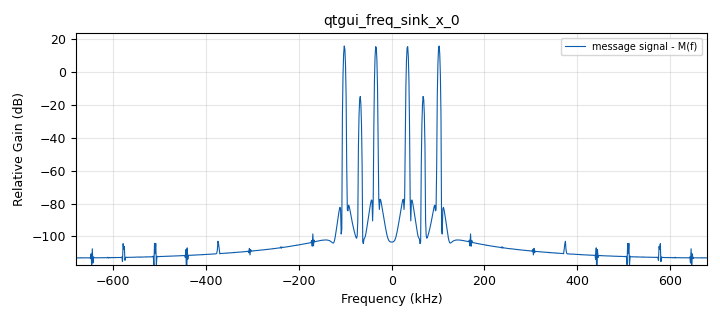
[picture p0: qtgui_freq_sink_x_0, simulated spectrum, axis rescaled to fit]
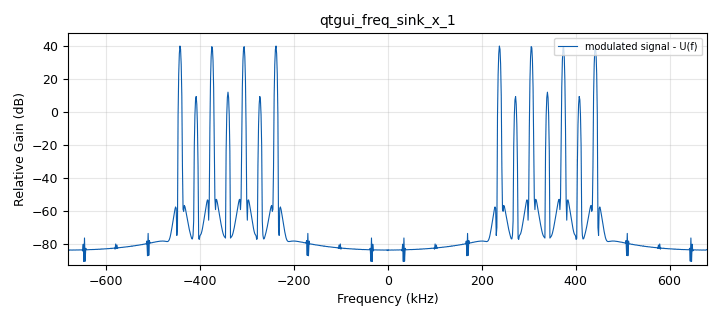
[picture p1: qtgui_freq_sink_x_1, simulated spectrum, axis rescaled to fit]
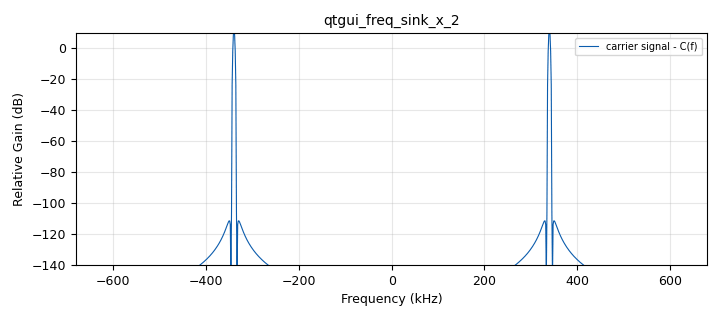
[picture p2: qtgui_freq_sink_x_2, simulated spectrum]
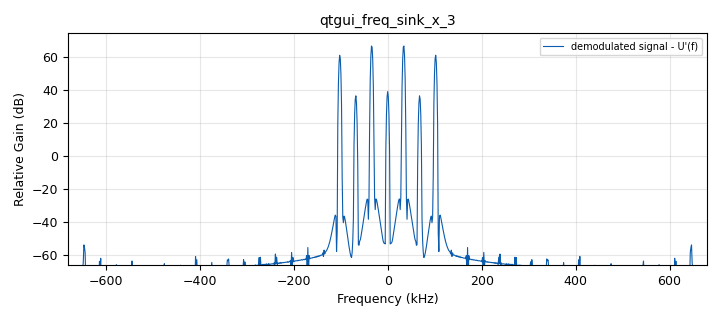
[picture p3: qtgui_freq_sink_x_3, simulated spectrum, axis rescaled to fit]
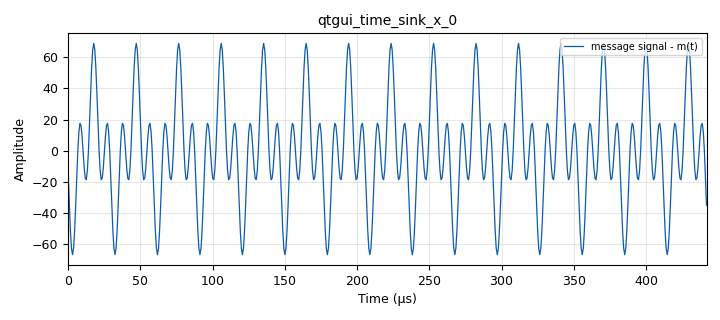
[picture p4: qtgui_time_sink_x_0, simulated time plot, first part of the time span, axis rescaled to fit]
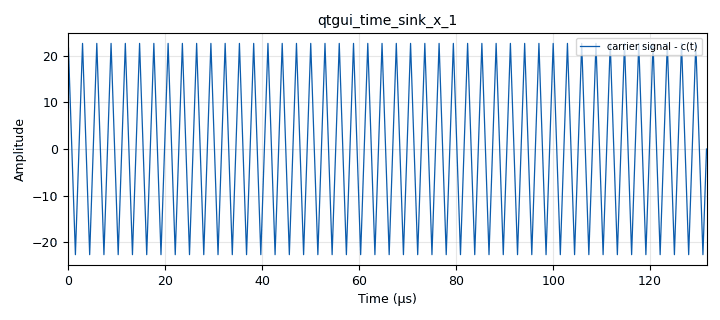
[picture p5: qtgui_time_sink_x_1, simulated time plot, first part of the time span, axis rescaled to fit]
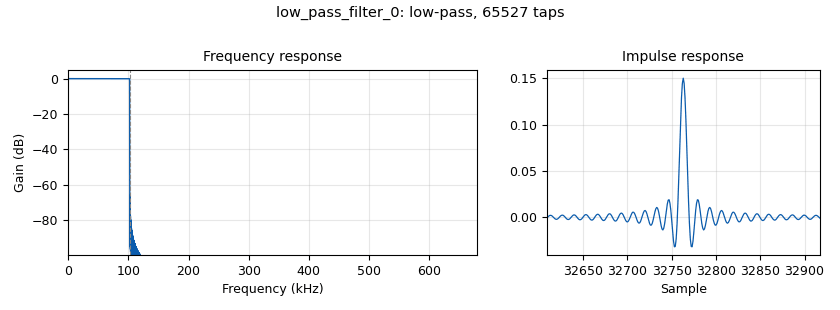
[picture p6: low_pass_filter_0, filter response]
options:
  parameters:
    author: Mangal
    generate_options: qt_gui
    id: multitone
    output_language: python
    title: multitone amplitude modulation
  states: {}

blocks:
- name: samp_rate
  id: variable
  parameters:
    value: '1360000'
  states: {}
- name: analog_const_source_x_0
  id: analog_const_source_x
  parameters:
    const: '1.5'
    type: float
  states: {}
- name: analog_const_source_x_1
  id: analog_const_source_x
  parameters:
    const: '1'
    type: float
  states: {}
- name: analog_sig_source_x_0
  id: analog_sig_source_x
  parameters:
    amp: '34'
    freq: '34000'
    offset: '0'
    phase: '0'
    samp_rate: samp_rate
    type: float
    waveform: analog.GR_COS_WAVE
  states: {}
- name: analog_sig_source_x_1
  id: analog_sig_source_x
  parameters:
    amp: '1'
    freq: '68000'
    offset: '0'
    phase: '0'
    samp_rate: samp_rate
    type: float
    waveform: analog.GR_COS_WAVE
  states: {}
- name: analog_sig_source_x_1_0
  id: analog_sig_source_x
  parameters:
    amp: '22.7'
    freq: '340000'
    offset: '0'
    phase: '0'
    samp_rate: samp_rate
    type: float
    waveform: analog.GR_COS_WAVE
  states: {}
- name: analog_sig_source_x_1_0_0
  id: analog_sig_source_x
  parameters:
    amp: '22.7'
    freq: '340000'
    offset: '0'
    phase: '0'
    samp_rate: samp_rate
    type: float
    waveform: analog.GR_COS_WAVE
  states: {}
- name: analog_sig_source_x_2
  id: analog_sig_source_x
  parameters:
    amp: '34'
    freq: '102000'
    offset: '0'
    phase: '0'
    samp_rate: samp_rate
    type: float
    waveform: analog.GR_COS_WAVE
  states: {}
- name: blocks_add_xx_0
  id: blocks_add_xx
  parameters:
    num_inputs: '3'
    type: float
  states: {}
- name: blocks_add_xx_0_0
  id: blocks_add_xx
  parameters:
    type: float
  states: {}
- name: blocks_multiply_xx_0
  id: blocks_multiply_xx
  parameters:
    type: float
  states: {}
- name: blocks_multiply_xx_1
  id: blocks_multiply_xx
  parameters:
    type: float
  states: {}
- name: blocks_multiply_xx_2
  id: blocks_multiply_xx
  parameters:
    type: float
  states: {}
- name: low_pass_filter_0
  id: low_pass_filter
  parameters:
    cutoff_freq: '102000'
    decim: '1'
    gain: '1'
    samp_rate: samp_rate
    type: fir_filter_fff
    width: '50'
    win: window.WIN_HAMMING
  states: {}
- name: qtgui_freq_sink_x_0
  id: qtgui_freq_sink_x
  parameters:
    bw: samp_rate
    ctrlpanel: 'True'
    fc: '0'
    fftsize: '1024'
    label1: message signal - M(f)
    type: float
  states: {}
- name: qtgui_freq_sink_x_1
  id: qtgui_freq_sink_x
  parameters:
    bw: samp_rate
    color1: '"green"'
    ctrlpanel: 'True'
    fc: '0'
    fftsize: '1024'
    label1: modulated signal - U(f)
    type: float
  states: {}
- name: qtgui_freq_sink_x_2
  id: qtgui_freq_sink_x
  parameters:
    bw: samp_rate
    color1: '"red"'
    ctrlpanel: 'True'
    fc: '0'
    fftsize: '1024'
    label1: carrier signal - C(f)
    type: float
  states: {}
- name: qtgui_freq_sink_x_3
  id: qtgui_freq_sink_x
  parameters:
    bw: samp_rate
    color1: '"black"'
    ctrlpanel: 'True'
    fc: '0'
    fftsize: '1024'
    label1: demodulated signal - U'(f)
    type: float
  states: {}
- name: qtgui_time_sink_x_0
  id: qtgui_time_sink_x
  parameters:
    ctrlpanel: 'True'
    label1: message signal - m(t)
    size: '1024'
    srate: samp_rate
    type: float
  states: {}
- name: qtgui_time_sink_x_1
  id: qtgui_time_sink_x
  parameters:
    color1: red
    ctrlpanel: 'True'
    label1: carrier signal - c(t)
    size: '1024'
    srate: samp_rate
    type: float
  states: {}
- name: qtgui_time_sink_x_2
  id: qtgui_time_sink_x
  parameters:
    color1: green
    ctrlpanel: 'True'
    label1: modulated signal - u(t)
    size: '1024'
    srate: samp_rate
    type: float
  states: {}
- name: qtgui_time_sink_x_3
  id: qtgui_time_sink_x
  parameters:
    color1: black
    ctrlpanel: 'True'
    label1: demodulated signal - u'(t)
    size: '1024'
    srate: samp_rate
    type: float
  states: {}

connections:
- [analog_const_source_x_0, '0', blocks_multiply_xx_0, '0']
- [analog_const_source_x_1, '0', blocks_add_xx_0_0, '0']
- [analog_sig_source_x_0, '0', blocks_add_xx_0, '0']
- [analog_sig_source_x_1, '0', blocks_add_xx_0, '1']
- [analog_sig_source_x_1_0, '0', blocks_multiply_xx_1, '1']
- [analog_sig_source_x_1_0, '0', qtgui_freq_sink_x_2, '0']
- [analog_sig_source_x_1_0, '0', qtgui_time_sink_x_1, '0']
- [analog_sig_source_x_1_0_0, '0', blocks_multiply_xx_2, '1']
- [analog_sig_source_x_2, '0', blocks_add_xx_0, '2']
- [blocks_add_xx_0, '0', blocks_multiply_xx_0, '1']
- [blocks_add_xx_0, '0', qtgui_freq_sink_x_0, '0']
- [blocks_add_xx_0, '0', qtgui_time_sink_x_0, '0']
- [blocks_add_xx_0_0, '0', blocks_multiply_xx_1, '0']
- [blocks_multiply_xx_0, '0', blocks_add_xx_0_0, '1']
- [blocks_multiply_xx_1, '0', blocks_multiply_xx_2, '0']
- [blocks_multiply_xx_1, '0', qtgui_freq_sink_x_1, '0']
- [blocks_multiply_xx_1, '0', qtgui_time_sink_x_2, '0']
- [blocks_multiply_xx_2, '0', low_pass_filter_0, '0']
- [low_pass_filter_0, '0', qtgui_freq_sink_x_3, '0']
- [low_pass_filter_0, '0', qtgui_time_sink_x_3, '0']

metadata:
  file_format: 1
  grc_version: 3.10.9.2
